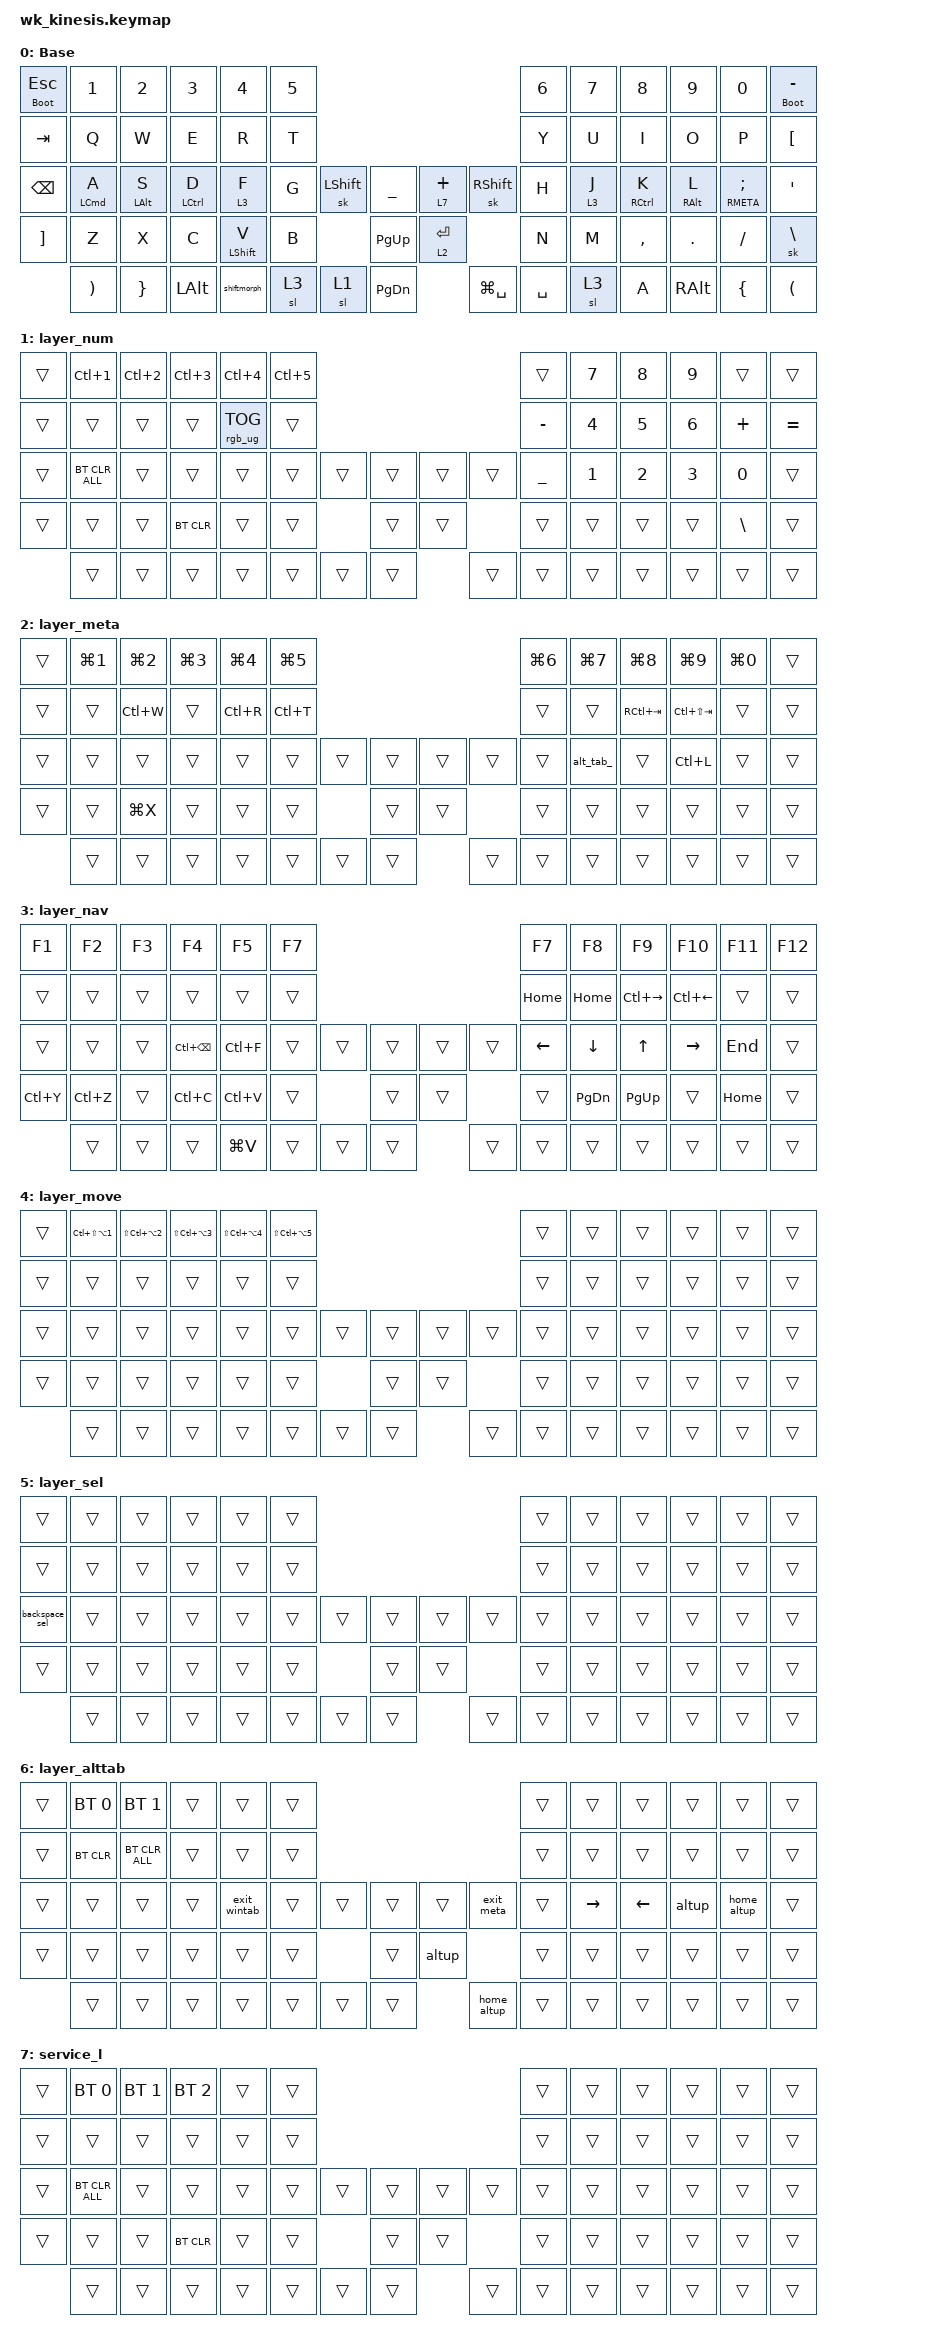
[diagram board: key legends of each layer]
#include <dt-bindings/zmk/mouse.h>
#include <behaviors.dtsi>
#include <dt-bindings/zmk/bt.h>
#include <dt-bindings/zmk/keys.h>
#include <dt-bindings/zmk/rgb.h>

/ {
    behaviors {
        hm: homerow_mods {
            compatible = "zmk,behavior-hold-tap";
            label = "HOMEROW_MODS";
            #binding-cells = <2>;
            tapping-term-ms = <200>;
            quick_tap_ms = <175>;
            flavor = "tap-preferred";
            bindings = <&kp>, <&kp>;
        };

        bootloader1: bootloader1 {
            compatible = "zmk,behavior-hold-tap";
            label = "BOOTLOADER1";
            bindings = <&bootloader>, <&kp>;

            #binding-cells = <2>;
            tapping-term-ms = <500>;
            hold-trigger-key-positions = <0 11>;
            flavor = "tap-preferred";
        };

        shiftmorph: shiftmorph {
            compatible = "zmk,behavior-mod-morph";
            label = "SHIFTMORPH";
            bindings = <&kp N0>, <&kp NUMBER_3>;

            #binding-cells = <0>;
            mods = <(MOD_RSFT)>;
        };

        holdtap: holdtap {
            compatible = "zmk,behavior-hold-tap";
            label = "HOLDTAP";
            bindings = <&kp>, <&kp>;

            #binding-cells = <2>;
            tapping-term-ms = <500>;
            hold-trigger-key-positions = <1>;
            flavor = "tap-preferred";
        };
    };

    macros {
        alt_tab_: enter_ {
            compatible = "zmk,behavior-macro";
            #binding-cells = <0>;
            bindings =
                <&macro_tap>,
                <&to 6>,
                <&macro_press>,
                <&kp LEFT_ALT>,
                <&macro_tap>,
                <&kp TAB>;

            label = "ENTER_";
        };

        home_altup: escape_ {
            compatible = "zmk,behavior-macro";
            #binding-cells = <0>;
            bindings =
                <&macro_tap>,
                <&kp HOME>,
                <&macro_release>,
                <&kp LALT>,
                <&macro_tap>,
                <&to 0>;

            label = "ESCAPE_";
        };

        altup: enter_alt {
            compatible = "zmk,behavior-macro";
            #binding-cells = <0>;
            bindings = <&macro_release>, <&kp LEFT_ALT>, <&macro_tap>, <&to 0>;

            label = "ENTER_ALT";
        };

        exit_wintab: exit_wintab {
            compatible = "zmk,behavior-macro";
            #binding-cells = <0>;
            bindings = <&macro_tap>, <&home_altup &kp LG(TAB)>;

            label = "EXIT_WINTAB";
        };

        exit_meta: exit_meta {
            compatible = "zmk,behavior-macro";
            #binding-cells = <0>;
            bindings = <&macro_tap>, <&home_altup &sl 2>;

            label = "EXIT_META";
        };

        backspace_sel: backspace_sel {
            compatible = "zmk,behavior-macro";
            #binding-cells = <0>;
            bindings =
                <&macro_release>,
                <&kp LEFT_SHIFT>,
                <&macro_tap>,
                <&kp BACKSPACE &to 0>;

            label = "BACKSPACE_SEL";
        };

        sel_home: sel {
            compatible = "zmk,behavior-macro";
            #binding-cells = <0>;
            bindings =
                <&macro_press>,
                <&kp LEFT_SHIFT>,
                <&macro_tap>,
                <&kp HOME &tog 5>;

            label = "SEL";
        };
    };

    keymap {
        compatible = "zmk,keymap";

        default_layer {
            display-name = "Base";
            bindings = <
&bootloader1 0 ESCAPE  &kp NUMBER_1           &kp N2           &kp N3        &kp N4       &kp N5                                                                               &kp N6  &kp N7   &kp N8         &kp N9           &kp N0                &bootloader1 0 MINUS
&kp TAB                &kp Q                  &kp W            &kp E         &kp R        &kp T                                                                                &kp Y   &kp U    &kp I          &kp O            &kp P                 &kp LEFT_BRACKET
&kp BACKSPACE          &hm LCMD A             &hm LEFT_ALT S   &hm LCTRL D   &lt 3 F      &kp G          &sk LEFT_SHIFT  &kp UNDERSCORE      &lt 7 PLUS     &sk RSHIFT         &kp H   &lt 3 J  &hm RCTRL K    &hm RIGHT_ALT L  &hm RMETA SEMI        &kp SQT
&kp RIGHT_BRACKET      &kp Z                  &kp X            &kp C         &hm LSHFT V  &kp B                          &kp PG_UP           &lt 2 ENTER                       &kp N   &kp M    &kp COMMA      &kp DOT          &kp FSLH              &sk BACKSLASH
                       &kp RIGHT_PARENTHESIS  &kp RIGHT_BRACE  &kp LEFT_ALT  &shiftmorph          &sl 3  &sl 1           &kp PAGE_DOWN       &kp LG(SPACE)  &kp SPACE   &sl 3          &kp A    &kp RIGHT_ALT  &kp LEFT_BRACE   &kp LEFT_PARENTHESIS
            >;
        };

        layer_num {
            bindings = <
&trans  &kp LC(NUMBER_1)  &kp LC(NUMBER_2)  &kp LC(NUMBER_3)  &kp LC(NUMBER_4)  &kp LC(N5)                                                      &trans          &kp NUMBER_7  &kp NUMBER_8  &kp N9        &trans         &trans
&trans  &trans            &trans            &trans            &rgb_ug RGB_TOG   &trans                                                          &kp MINUS       &kp NUMBER_4  &kp NUMBER_5  &kp NUMBER_6  &kp PLUS       &kp EQUAL
&trans  &bt BT_CLR_ALL    &trans            &trans            &trans            &trans              &trans  &trans      &trans  &trans          &kp UNDERSCORE  &kp NUMBER_1  &kp NUMBER_2  &kp NUMBER_3  &kp N0         &trans
&trans  &trans            &trans            &bt BT_CLR        &trans            &trans                      &trans      &trans                  &trans          &trans        &trans        &trans        &kp BACKSLASH  &trans
        &trans            &trans            &trans            &trans                        &trans  &trans  &trans      &trans  &trans  &trans                  &trans        &trans        &trans        &trans
            >;
        };

        layer_meta {
            bindings = <
&trans  &kp LG(NUMBER_1)  &kp LG(NUMBER_2)  &kp LG(NUMBER_3)  &kp LG(NUMBER_4)  &kp LG(NUMBER_5)                                                      &kp LG(NUMBER_6)  &kp LG(NUMBER_7)  &kp LG(NUMBER_8)  &kp LG(NUMBER_9)  &kp LG(NUMBER_0)  &trans
&trans  &trans            &kp LC(W)         &trans            &kp LC(R)         &kp LC(T)                                                             &trans            &trans            &kp RC(TAB)       &kp LC(LS(TAB))   &trans            &trans
&trans  &trans            &trans            &trans            &trans            &trans                    &trans  &trans      &trans  &trans          &trans            &alt_tab_         &trans            &kp LC(L)         &trans            &trans
&trans  &trans            &kp LG(X)         &trans            &trans            &trans                            &trans      &trans                  &trans            &trans            &trans            &trans            &trans            &trans
        &trans            &trans            &trans            &trans                              &trans  &trans  &trans      &trans  &trans  &trans                    &trans            &trans            &trans            &trans
            >;
        };

        layer_nav {
            bindings = <
&kp F1     &kp F2     &kp F3  &kp F4             &kp F5     &kp F7                                                      &kp F7    &kp F8         &kp F9         &kp F10       &kp F11   &kp F12
&trans     &trans     &trans  &trans             &trans     &trans                                                      &kp HOME  &kp HOME       &kp LC(RIGHT)  &kp LC(LEFT)  &trans    &trans
&trans     &trans     &trans  &kp LC(BACKSPACE)  &kp LC(F)  &trans          &trans  &trans      &trans  &trans          &kp LEFT  &kp DOWN       &kp UP_ARROW   &kp RIGHT     &kp END   &trans
&kp LC(Y)  &kp LC(Z)  &trans  &kp LC(C)          &kp LC(V)  &trans                  &trans      &trans                  &trans    &kp PAGE_DOWN  &kp PG_UP      &trans        &kp HOME  &trans
           &trans     &trans  &trans             &kp LG(V)          &trans  &trans  &trans      &trans  &trans  &trans            &trans         &trans         &trans        &trans
            >;
        };

        layer_move {
            bindings = <
&trans  &kp LC(LS(LA(NUMBER_1)))  &kp LS(LC(LA(NUMBER_2)))  &kp LS(LC(LA(NUMBER_3)))  &kp LS(LC(LA(NUMBER_4)))  &kp LS(LC(LA(NUMBER_5)))                                                      &trans  &trans  &trans  &trans  &trans  &trans
&trans  &trans                    &trans                    &trans                    &trans                    &trans                                                                        &trans  &trans  &trans  &trans  &trans  &trans
&trans  &trans                    &trans                    &trans                    &trans                    &trans                            &trans  &trans      &trans  &trans          &trans  &trans  &trans  &trans  &trans  &trans
&trans  &trans                    &trans                    &trans                    &trans                    &trans                                    &trans      &trans                  &trans  &trans  &trans  &trans  &trans  &trans
        &trans                    &trans                    &trans                    &trans                                              &trans  &trans  &trans      &trans  &trans  &trans          &trans  &trans  &trans  &trans
            >;
        };

        layer_sel {
            bindings = <
&trans          &trans  &trans  &trans  &trans  &trans                                                      &trans  &trans  &trans  &trans  &trans  &trans
&trans          &trans  &trans  &trans  &trans  &trans                                                      &trans  &trans  &trans  &trans  &trans  &trans
&backspace_sel  &trans  &trans  &trans  &trans  &trans          &trans  &trans      &trans  &trans          &trans  &trans  &trans  &trans  &trans  &trans
&trans          &trans  &trans  &trans  &trans  &trans                  &trans      &trans                  &trans  &trans  &trans  &trans  &trans  &trans
                &trans  &trans  &trans  &trans          &trans  &trans  &trans      &trans  &trans  &trans          &trans  &trans  &trans  &trans
            >;
        };

        layer_alttab {
            bindings = <
&trans  &bt BT_SEL 0  &bt BT_SEL 1    &trans  &trans        &trans                                                               &trans  &trans     &trans    &trans  &trans       &trans
&trans  &bt BT_CLR    &bt BT_CLR_ALL  &trans  &trans        &trans                                                               &trans  &trans     &trans    &trans  &trans       &trans
&trans  &trans        &trans          &trans  &exit_wintab  &trans          &trans  &trans      &trans       &exit_meta          &trans  &kp RIGHT  &kp LEFT  &altup  &home_altup  &trans
&trans  &trans        &trans          &trans  &trans        &trans                  &trans      &altup                           &trans  &trans     &trans    &trans  &trans       &trans
        &trans        &trans          &trans  &trans                &trans  &trans  &trans      &home_altup  &trans      &trans          &trans     &trans    &trans  &trans
            >;
        };

        service_l {
            bindings = <
&trans  &bt BT_SEL 0    &bt BT_SEL 1  &bt BT_SEL 2  &trans  &trans                                                      &trans  &trans  &trans  &trans  &trans  &trans
&trans  &trans          &trans        &trans        &trans  &trans                                                      &trans  &trans  &trans  &trans  &trans  &trans
&trans  &bt BT_CLR_ALL  &trans        &trans        &trans  &trans          &trans  &trans      &trans  &trans          &trans  &trans  &trans  &trans  &trans  &trans
&trans  &trans          &trans        &bt BT_CLR    &trans  &trans                  &trans      &trans                  &trans  &trans  &trans  &trans  &trans  &trans
        &trans          &trans        &trans        &trans          &trans  &trans  &trans      &trans  &trans  &trans          &trans  &trans  &trans  &trans
            >;
        };
    };

    conditional_layers {
        compatible = "zmk,conditional-layers";

        move {
            if-layers = <2 1>;
            then-layer = <4>;
        };
    };
};
